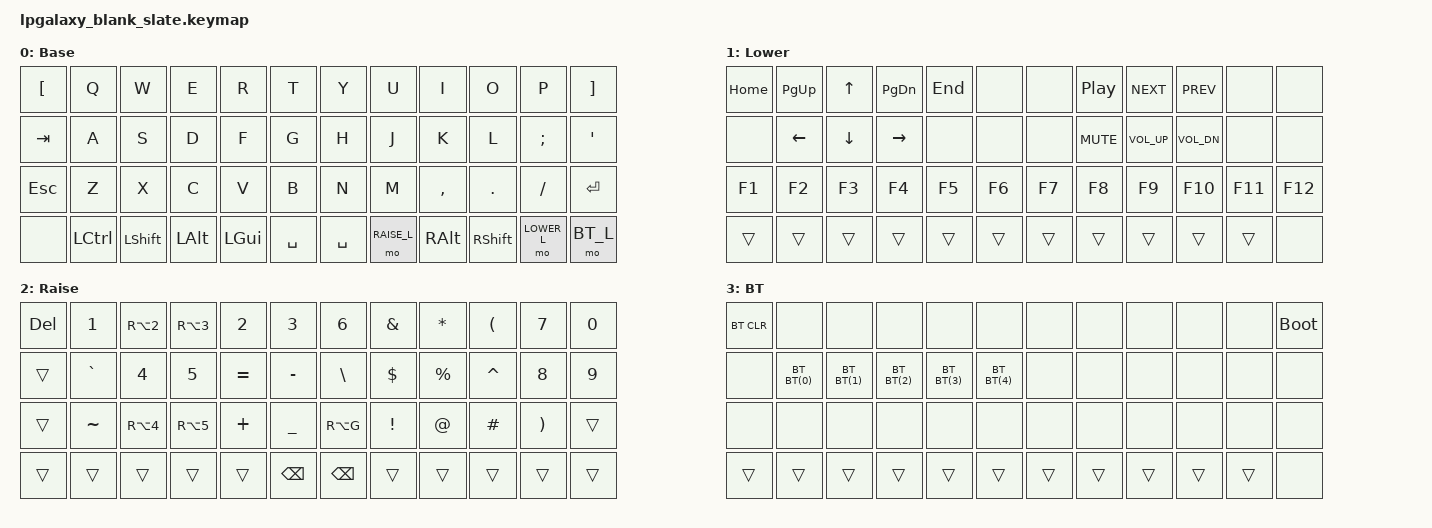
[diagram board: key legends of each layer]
/*
 * Copyright (c) 2022 Pete Johanson
 *
 * SPDX-License-Identifier: MIT
 */

#include <behaviors.dtsi>
#include <dt-bindings/zmk/keys.h>
#include <dt-bindings/zmk/bt.h>
#include <dt-bindings/zmk/outputs.h>
#include <dt-bindings/zmk/modifiers.h>

#define LOWER_L 1
#define RAISE_L 2
#define BT_L 3

// Using layer taps on thumbs, having quick tap as well helps w/ repeating space/backspace
&lt { quick_tap_ms = <200>; };

#define BT(n) BT_SEL n

/ {
    chosen {
       zmk,matrix_transform =
           &ortho_transform;
    };

    macros {
      ZMK_MACRO(thumbs_up,
    wait-ms = <1>;
    tap-ms = <5>;
                bindings = <&kp PLUS &kp COLON &kp PLUS &kp N1 &kp COLON &kp RET>;
    )
    };

    tap_dances {
      shifty: shift_caps_word {
    compatible = "zmk,behavior-tap-dance";
    label = "TD_SHIFTY";
    #binding-cells = <0>;
    tapping-term-ms = <150>;
    bindings = <&kp LSHFT>, <&caps_word>;
  };
    };

    keymap {
        compatible = "zmk,keymap";

        base_layer {
            label = "Base";
            bindings = <
 &kp LBKT   &kp Q      &kp W      &kp E       &kp R          &kp T          &kp Y            &kp U          &kp I       &kp O      &kp P         &kp RBKT
 &kp TAB    &kp A      &kp S      &kp D       &kp F          &kp G          &kp H            &kp J          &kp K       &kp L      &kp SEMI      &kp QUOT
 &kp ESC    &kp Z      &kp X      &kp C       &kp V          &kp B          &kp N            &kp M          &kp COMMA   &kp DOT    &kp FSLH      &kp RET
 &none      &kp LCTRL  &kp LSHFT  &kp LALT    &kp LGUI       &kp SPACE      &kp SPACE        &mo RAISE_L    &kp RALT    &kp RSHFT  &mo LOWER_L   &mo BT_L
            >;
        };

        lower_layer {
            label = "Lower";
            bindings = <
&kp HOME  &kp PG_UP  &kp UP     &kp PG_DN   &kp END         &none       &none     &kp C_PP   &kp C_NEXT   &kp C_PREV   &none      &none
&none     &kp LEFT   &kp DOWN   &kp RIGHT   &none           &none       &none     &kp C_MUTE &kp C_VOL_UP &kp C_VOL_DN &none      &none
&kp F1    &kp F2     &kp F3     &kp F4      &kp F5          &kp F6      &kp F7    &kp F8     &kp F9       &kp F10      &kp F11    &kp F12
&trans    &trans     &trans     &trans      &trans          &trans      &trans    &trans     &trans       &trans       &trans     &none
            >;
        };

        raise_layer {
            label = "Raise";
            bindings = <
&kp DEL   &kp N1     &kp RA(N2) &kp RA(N3)  &kp N2         &kp N3         &kp N6            &kp AMPS        &kp STAR     &kp LPAR    &kp N7        &kp N0
&trans    &kp GRAVE  &kp N4     &kp N5      &kp EQUAL      &kp MINUS      &kp BSLH          &kp DLLR        &kp PRCNT    &kp CARET   &kp N8        &kp N9
&trans    &kp TILDE  &kp RA(N4) &kp RA(N5)  &kp PLUS       &kp UNDER      &kp RA(G)         &kp EXCL        &kp AT       &kp HASH    &kp RPAR      &trans
&trans    &trans     &trans     &trans      &trans         &kp BSPC       &kp BSPC          &trans          &trans       &trans      &trans        &trans
            >;
        };

        bt_layer {
            label = "BT";
            bindings = <
&bt BT_CLR  &none      &none      &none       &none           &none        &none      &none         &none      &none     &none      &bootloader
&none       &bt BT(0)  &bt BT(1)  &bt BT(2)   &bt BT(3)       &bt BT(4)       &none     &none       &none    &none     &none      &none
&none       &none     &none     &none      &none          &none       &none     &none         &none      &none    &none    &none
&trans  &trans        &trans     &trans      &trans          &trans       &trans    &trans  &trans         &trans &trans &none
            >;
        };

    };
};
